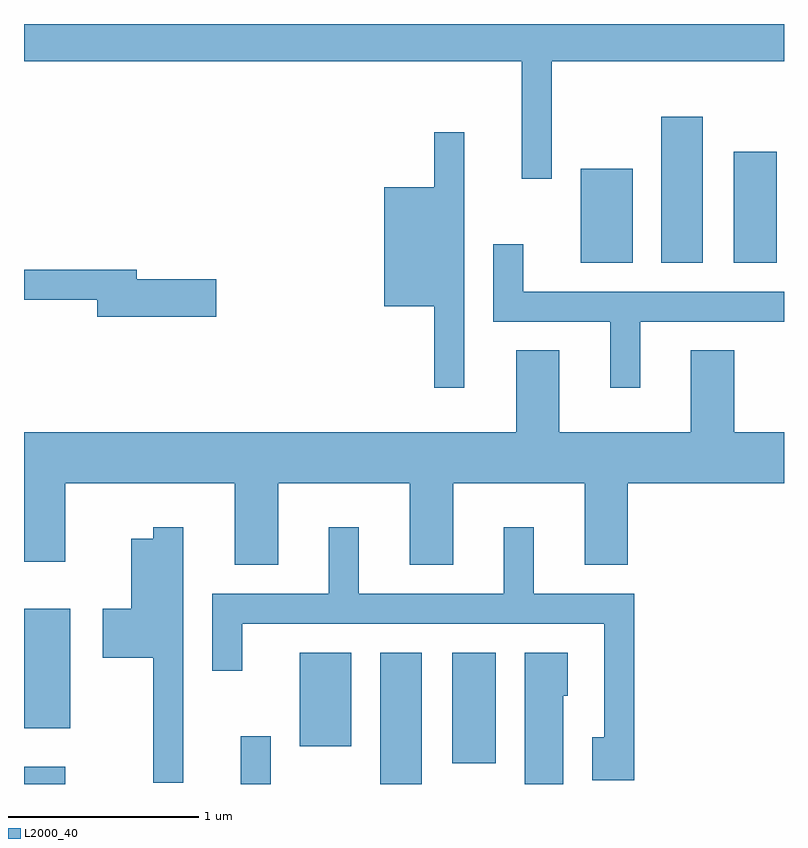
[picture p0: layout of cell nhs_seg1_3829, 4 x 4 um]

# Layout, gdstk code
import gdstk
lib = gdstk.Library(unit=1e-6, precision=1e-09)
def R(c, l, rs):  # rectangles x0, y0, x1, y1
    for r in rs: c.add(gdstk.rectangle(r[:2], r[2:], *l))
def P(c, l, *ps):  # polygons
    for p in ps: c.add(gdstk.Polygon(p, *l))
L2000_40 = (2000, 40)

nhs_seg1_3829 = lib.new_cell('nhs_seg1_3829')
R(nhs_seg1_3829, L2000_40, [(299.611,955.712,299.829,955.804), (300.751,955.712,300.909,955.963), (301.486,955.712,301.704,956.404), (301.866,955.821,302.094,956.404), (301.061,955.911,301.334,956.404), (299.611,956.006,299.854,956.634), (302.541,958.456,302.814,958.949), (302.966,958.456,303.184,959.224), (303.346,958.456,303.574,959.039)])
P(nhs_seg1_3829, L2000_40, [(302.389,959.516),(303.611,959.516),(303.611,959.712),(299.611,959.712),(299.611,959.516),(302.231,959.516),(302.231,958.898),(302.389,958.898)],
  [(301.929,959.143),(301.771,959.143),(301.771,958.854),(301.506,958.854),(301.506,958.226),(301.771,958.226),(301.771,957.798),(301.929,957.798)],
  [(302.854,958.146),(303.611,958.146),(303.611,958.304),(302.239,958.304),(302.239,958.553),(302.081,958.553),(302.081,958.146),(302.696,958.146),(302.696,957.798),(302.854,957.798)],
  [(300.624,958.369),(300.204,958.369),(300.204,958.419),(299.611,958.419),(299.611,958.261),(299.996,958.261),(299.996,958.171),(300.624,958.171)],
  [(300.949,957.296),(301.641,957.296),(301.641,956.866),(301.869,956.866),(301.869,957.296),(302.561,957.296),(302.561,956.866),(302.789,956.866),(302.789,957.296),(303.611,957.296),(303.611,957.564),(303.349,957.564),(303.349,957.994),(303.121,957.994),(303.121,957.564),(302.429,957.564),(302.429,957.994),(302.201,957.994),(302.201,957.564),(299.611,957.564),(299.611,956.881),(299.829,956.881),(299.829,957.296),(300.721,957.296),(300.721,956.866),(300.949,956.866)],
  [(300.449,957.063),(300.291,957.063),(300.291,957.004),(300.176,957.004),(300.176,956.634),(300.026,956.634),(300.026,956.376),(300.291,956.376),(300.291,955.718),(300.449,955.718)],
  [(302.824,956.714),(302.294,956.714),(302.294,957.063),(302.136,957.063),(302.136,956.714),(301.374,956.714),(301.374,957.063),(301.216,957.063),(301.216,956.714),(300.601,956.714),(300.601,956.308),(300.759,956.308),(300.759,956.556),(302.666,956.556),(302.666,955.959),(302.601,955.959),(302.601,955.731),(302.824,955.731)],
  [(302.449,956.176),(302.474,956.176),(302.474,956.404),(302.246,956.404),(302.246,955.712),(302.449,955.712)])

lib.write_gds('nhs_seg1_3829.gds')
